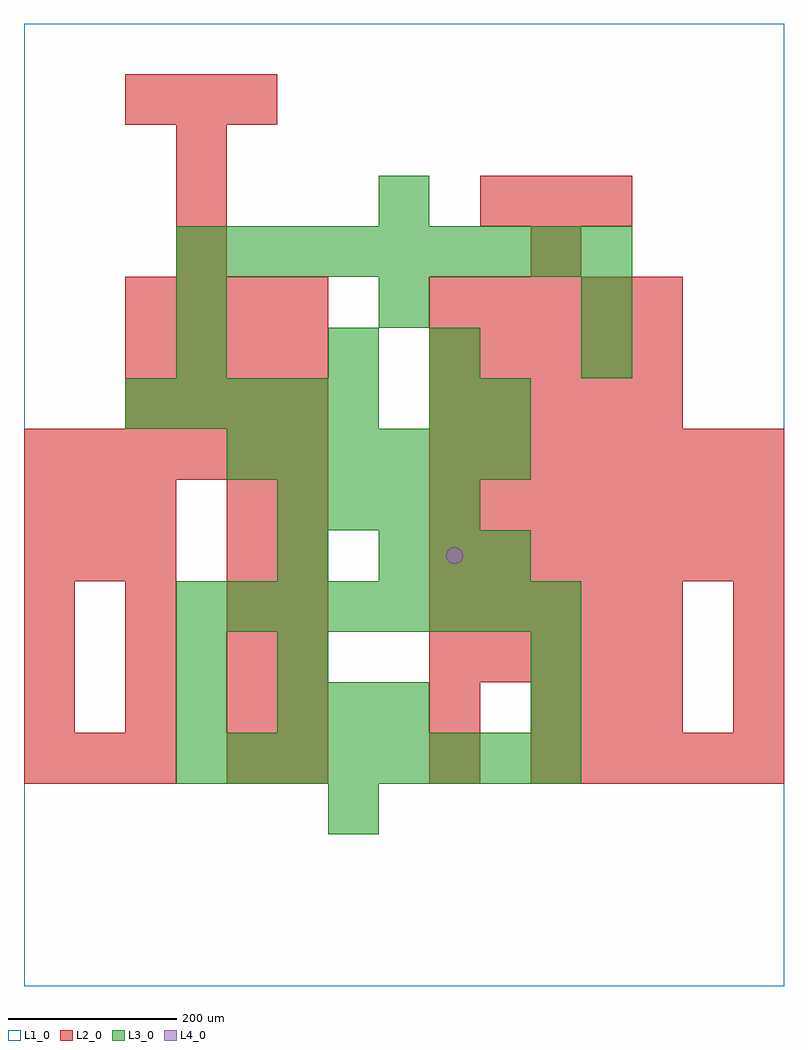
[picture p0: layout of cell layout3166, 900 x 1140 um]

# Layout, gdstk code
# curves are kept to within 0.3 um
import gdstk
lib = gdstk.Library(unit=1e-6, precision=1e-09)
def R(c, l, rs):  # rectangles x0, y0, x1, y1
    for r in rs: c.add(gdstk.rectangle(r[:2], r[2:], *l))
def A(c, l, x, y, w, h, nx, ny, dx, dy):  # array of equal rectangles
    R(c, l, [(x+i*dx, y+j*dy, x+i*dx+w, y+j*dy+h) for i in range(nx) for j in range(ny)])
def P(c, l, *ps):  # polygons
    for p in ps: c.add(gdstk.Polygon(p, *l))
L1_0 = (1, 0)
L2_0 = (2, 0)
L3_0 = (3, 0)
L4_0 = (4, 0)

layout3166 = lib.new_cell('layout3166')
R(layout3166, L1_0, [(0,0,900,1140)])
A(layout3166, L2_0, 0, 240, 60, 60, 3, 2, 60, 240)
A(layout3166, L2_0, 300, 240, 60, 60, 1, 6, 0, 60)
A(layout3166, L2_0, 600, 240, 60, 60, 5, 1, 60, 0)
A(layout3166, L2_0, 0, 300, 60, 60, 3, 3, 120, 60)
A(layout3166, L2_0, 600, 300, 60, 60, 3, 1, 60, 0)
A(layout3166, L2_0, 840, 300, 60, 60, 1, 3, 0, 60)
A(layout3166, L2_0, 480, 360, 60, 60, 5, 2, 60, 60)
A(layout3166, L2_0, 480, 480, 60, 60, 7, 3, 60, 60)
A(layout3166, L2_0, 0, 540, 60, 60, 3, 1, 60, 0)
A(layout3166, L2_0, 0, 600, 60, 60, 6, 1, 60, 0)
A(layout3166, L2_0, 120, 660, 60, 60, 4, 3, 60, 60)
A(layout3166, L2_0, 480, 660, 60, 60, 5, 3, 60, 60)
A(layout3166, L2_0, 180, 840, 60, 60, 1, 3, 0, 60)
A(layout3166, L2_0, 540, 900, 60, 60, 3, 1, 60, 0)
A(layout3166, L2_0, 120, 1020, 60, 60, 3, 1, 60, 0)
R(layout3166, L2_0, [(240,240,300,300), (480,240,540,300), (480,300,540,360), (240,480,300,540), (240,540,300,600), (600,840,660,900)])
A(layout3166, L3_0, 180, 240, 60, 60, 8, 2, 60, 180)
A(layout3166, L3_0, 300, 300, 60, 60, 3, 1, 60, 0)
A(layout3166, L3_0, 420, 480, 60, 60, 3, 1, 60, 0)
A(layout3166, L3_0, 300, 540, 60, 60, 4, 1, 60, 0)
A(layout3166, L3_0, 240, 600, 60, 60, 6, 1, 60, 0)
A(layout3166, L3_0, 120, 660, 60, 60, 5, 1, 60, 0)
A(layout3166, L3_0, 180, 780, 60, 60, 3, 1, 240, 0)
A(layout3166, L3_0, 180, 840, 60, 60, 9, 1, 60, 0)
R(layout3166, L3_0, [(360,180,420,240), (180,300,240,360), (600,300,660,360), (180,360,240,420), (300,360,360,420), (600,360,660,420), (300,480,360,540), (480,660,540,720), (540,660,600,720), (180,720,240,780), (360,720,420,780), (480,720,540,780), (660,720,720,780), (420,900,480,960)])
P(layout3166, L4_0, [(520,510),(519.239,513.827),(517.071,517.071),(513.827,519.239),(510,520),(506.173,519.239),(502.929,517.071),(500.761,513.827),(500,510),(500.761,506.173),(502.929,502.929),(506.173,500.761),(510,500),(513.827,500.761),(517.071,502.929),(519.239,506.173)])

lib.write_gds('layout3166.gds')
